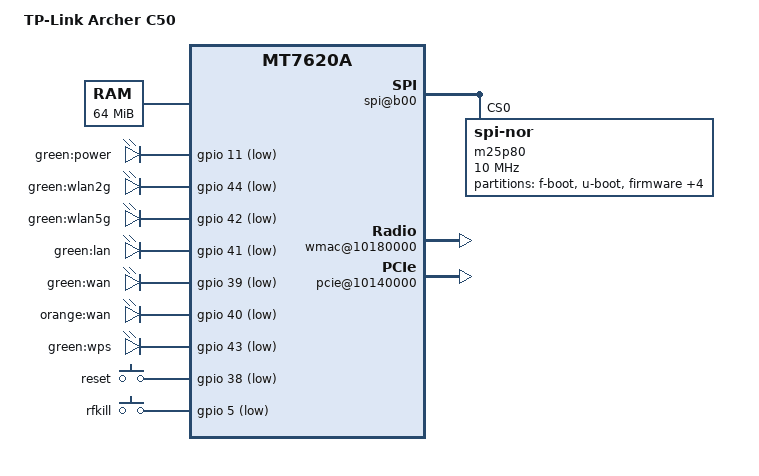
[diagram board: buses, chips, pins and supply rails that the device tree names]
/dts-v1/;

#include "mt7628an.dtsi"
#include <dt-bindings/input/input.h>
#include <dt-bindings/gpio/gpio.h>

/ {
	compatible = "ralink,mt7620a-soc";
	model = "TP-Link Archer C50";

	aliases {
		led-boot = &led_power;
		led-failsafe = &led_power;
		led-running = &led_power;
		led-upgrade = &led_power;
	};

	chosen {
		bootargs = "console=ttyS0,115200";
	};

	memory@0 {
		device_type = "memory";
//		reg = <0x0 0x10000000>; //256MB RAM
//		reg = <0x0 0x8000000>; //128MB RAM
		reg = <0x0 0x4000000>; //64MB RAM
	};

	palmbus@10000000 {

		gpio: gpio@600 {
			status = "okay";
		};

		spi@b00 {
			status = "okay";

			m25p80@0 {
				#address-cells = <1>;
				#size-cells = <1>;
				compatible = "jedec,spi-nor";
				reg = <0 0>;
				linux,modalias = "w25q64", "w25q128", "w25q256";
				spi-max-frequency = <10000000>;

				partition@0 {
					label = "f-boot";
					reg = <0x0 0x30000>;
					read-only;
				};

				partition@30000 {
					label = "u-boot";
					reg = <0x30000 0x20000>;
					read-only;
				};

				partition@50000 {
					label = "firmware";
					reg = <0x50000 0xf70000>;
				};

				partition@7c0000 {
					label = "config";
					reg = <0xfc0000 0x10000>;
				};

				rom: partition@7d0000 {
					label = "rom";
					reg = <0xfd0000 0x10000>;
				};

				partition@7e0000 {
					label = "romfile";
					reg = <0xfe0000 0x10000>;
				};

				radio: partition@7f0000 {
					label = "radio";
					reg = <0xff0000 0x10000>;
				};
			};
		};
	};

	pinctrl {
		state_default: pinctrl0 {
			gpio {
				groups = "i2c", "p0led_an", "p1led_an", "p2led_an", "p3led_an", "p4led_an", "wdt", "wled_an";
				function = "gpio";
			};
		};
	};

	ethernet@10100000 {
		pinctrl-names = "default";
		mtd-mac-address = <&rom 0xf100>;
		ralink,port-map = "wllll";
	};

	esw@10110000 {
		ralink,portmap = <0x3e>;
		ralink,port4 = "ephy";
	};


	wmac@10180000 {
		status = "okay";
		mediatek,mtd-eeprom = <&radio 0x0>;
	};

	pcie@10140000 {
		status = "okay";

		pcie-bridge {
			mt76@0,0 {
				reg = <0x0000 0 0 0 0>;
				device_type = "pci";
				mediatek,mtd-eeprom = <&radio 32768>;
				mediatek,2ghz = <0>;
			};
		};
	};

	gpio-leds {
		compatible = "gpio-leds";

		led_power: power {
			label = "green:power";
			gpios = <&gpio 11 GPIO_ACTIVE_LOW>;
		};

		wlan2 {
			label = "green:wlan2g";
			gpios = <&gpio 44 GPIO_ACTIVE_LOW>;
		};

		wlan5 {
			label = "green:wlan5g";
			gpios = <&gpio 42 GPIO_ACTIVE_LOW>;
		};

		lan {
			label = "green:lan";
			gpios = <&gpio 41 GPIO_ACTIVE_LOW>;
		};

		wan {
			label = "green:wan";
			gpios = <&gpio 39 GPIO_ACTIVE_LOW>;
		};

		wan_orange {
			label = "orange:wan";
			gpios = <&gpio 40 GPIO_ACTIVE_LOW>;
		};

		wps {
			label = "green:wps";
			gpios = <&gpio 43 GPIO_ACTIVE_LOW>;
		};
	};

        gpio-keys-polled {
                compatible = "gpio-keys-polled";
                #address-cells = <1>;
                #size-cells = <0>;
                poll-interval = <20>;

                reset {
                        label = "reset";
                        gpios = <&gpio 38 GPIO_ACTIVE_LOW>;
                        linux,code = <KEY_RESTART>;
                };

                rfkill {
                        label = "rfkill";
                        gpios = <&gpio 5 GPIO_ACTIVE_LOW>;
                        linux,code = <KEY_RFKILL>;
                };
        };
};
